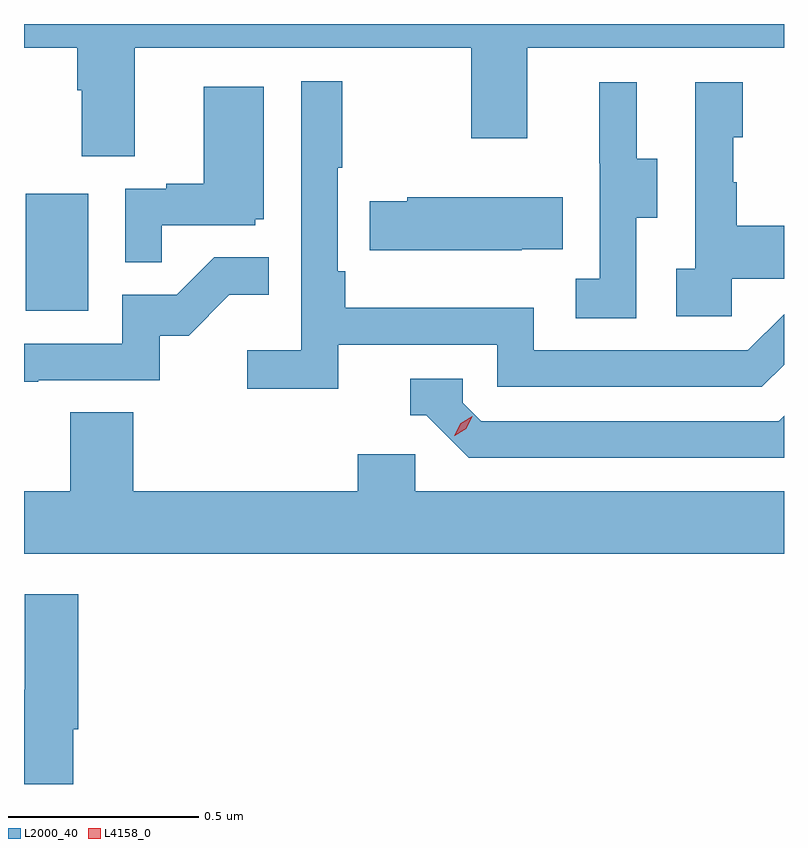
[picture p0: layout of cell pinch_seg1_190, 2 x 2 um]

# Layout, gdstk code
import gdstk
lib = gdstk.Library(unit=1e-6, precision=1e-09)
def R(c, l, rs):  # rectangles x0, y0, x1, y1
    for r in rs: c.add(gdstk.rectangle(r[:2], r[2:], *l))
def P(c, l, *ps):  # polygons
    for p in ps: c.add(gdstk.Polygon(p, *l))
L2000_40 = (2000, 40)
L4158_0 = (4158, 0)

pinch_seg1_190 = lib.new_cell('pinch_seg1_190')
R(pinch_seg1_190, L2000_40, [(1078.406,555.036,1078.57,555.343)])
P(pinch_seg1_190, L2000_40, [(1078.693,555.728),(1079.578,555.728),(1079.578,555.489),(1079.725,555.489),(1079.725,555.728),(1080.401,555.728),(1080.401,555.79),(1078.401,555.79),(1078.401,555.728),(1078.541,555.728),(1078.541,555.616),(1078.553,555.616),(1078.553,555.442),(1078.693,555.442)],
  [(1079.228,554.946),(1079.646,554.946),(1079.646,554.835),(1080.343,554.835),(1080.401,554.893),(1080.401,555.026),(1080.306,554.931),(1079.742,554.931),(1079.742,555.043),(1079.246,555.043),(1079.246,555.139),(1079.226,555.139),(1079.226,555.412),(1079.239,555.412),(1079.239,555.64),(1079.13,555.64),(1079.13,554.932),(1078.989,554.932),(1078.989,554.83),(1079.228,554.83)],
  [(1080.264,555.119),(1080.401,555.119),(1080.401,555.259),(1080.277,555.259),(1080.277,555.374),(1080.267,555.374),(1080.267,555.492),(1080.292,555.492),(1080.292,555.637),(1080.168,555.637),(1080.168,555.146),(1080.117,555.146),(1080.117,555.021),(1080.264,555.021)],
  [(1080.012,555.28),(1080.067,555.28),(1080.067,555.435),(1080.013,555.435),(1080.013,555.637),(1079.915,555.637),(1079.915,555.423),(1079.916,555.423),(1079.916,555.119),(1079.853,555.119),(1079.853,555.016),(1080.012,555.016)],
  [(1078.763,555.261),(1079.01,555.261),(1079.01,555.276),(1079.032,555.276),(1079.032,555.625),(1078.874,555.625),(1078.874,555.37),(1078.775,555.37),(1078.775,555.357),(1078.668,555.357),(1078.668,555.163),(1078.763,555.163)],
  [(1079.711,555.197),(1079.819,555.197),(1079.819,555.334),(1079.409,555.334),(1079.409,555.324),(1079.311,555.324),(1079.311,555.194),(1079.711,555.194)],
  [(1078.439,554.853),(1078.758,554.853),(1078.758,554.97),(1078.834,554.97),(1078.941,555.077),(1079.045,555.077),(1079.045,555.176),(1078.901,555.176),(1078.803,555.078),(1078.659,555.078),(1078.659,554.949),(1078.401,554.949),(1078.401,554.848),(1078.439,554.848)],
  [(1080.401,554.759),(1080.387,554.745),(1079.604,554.745),(1079.556,554.793),(1079.556,554.856),(1079.417,554.856),(1079.417,554.76),(1079.46,554.76),(1079.571,554.649),(1080.401,554.649)],
  [(1080.401,554.56),(1079.43,554.56),(1079.43,554.658),(1079.279,554.658),(1079.279,554.56),(1078.688,554.56),(1078.688,554.768),(1078.523,554.768),(1078.523,554.56),(1078.401,554.56),(1078.401,554.396),(1080.401,554.396)],
  [(1078.531,553.934),(1078.544,553.934),(1078.544,554.29),(1078.403,554.29),(1078.403,554.038),(1078.401,554.038),(1078.401,553.79),(1078.531,553.79)])
P(pinch_seg1_190, L4158_0, [(1079.533,554.706),(1079.533,554.707),(1079.55,554.739),(1079.581,554.758),(1079.581,554.758),(1079.581,554.758),(1079.565,554.725),(1079.534,554.706)])

lib.write_gds('pinch_seg1_190.gds')
